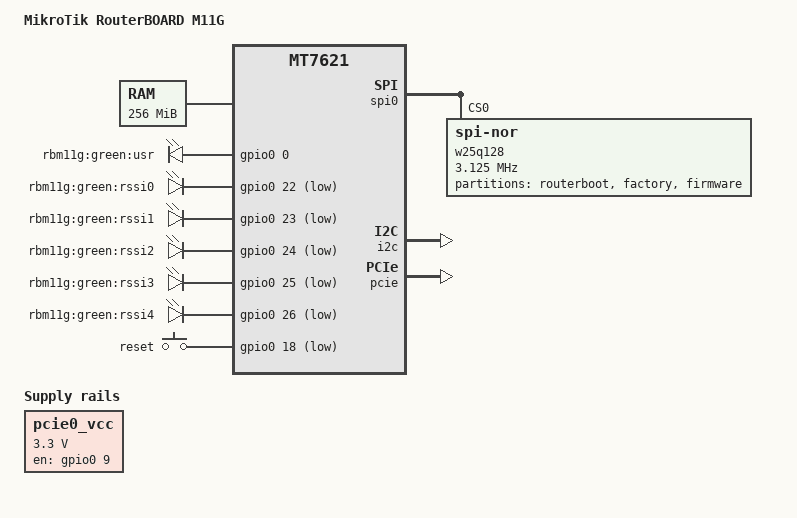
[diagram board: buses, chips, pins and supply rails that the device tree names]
/dts-v1/;

#include "mt7621.dtsi"

#include <dt-bindings/input/input.h>
#include <dt-bindings/gpio/gpio.h>

/ {
	compatible = "mikrotik,rbm11g", "mediatek,mt7621-soc";
	model = "MikroTik RouterBOARD M11G";

	aliases {
		led-status = &led_usr;
	};

	memory@0 {
		device_type = "memory";
		reg = <0x0 0x10000000>;
	};

	chosen {
		bootargs = "console=ttyS0,115200";
	};

	gpio-leds {
		compatible = "gpio-leds";

		led_usr: usr {
			label = "rbm11g:green:usr";
			gpios = <&gpio0 0 GPIO_ACTIVE_HIGH>;
		};

		rssi0 {
			label = "rbm11g:green:rssi0";
			gpios = <&gpio0 22 GPIO_ACTIVE_LOW>;
		};

		rssi1 {
			label = "rbm11g:green:rssi1";
			gpios = <&gpio0 23 GPIO_ACTIVE_LOW>;
		};

		rssi2 {
			label = "rbm11g:green:rssi2";
			gpios = <&gpio0 24 GPIO_ACTIVE_LOW>;
		};

		rssi3 {
			label = "rbm11g:green:rssi3";
			gpios = <&gpio0 25 GPIO_ACTIVE_LOW>;
		};

		rssi4 {
			label = "rbm11g:green:rssi4";
			gpios = <&gpio0 26 GPIO_ACTIVE_LOW>;
		};
	};

	gpio-keys-polled {
		compatible = "gpio-keys-polled";
		poll-interval = <20>;
		res {
			label = "reset";
			gpios = <&gpio0 18 GPIO_ACTIVE_LOW>;
			linux,code = <KEY_RESTART>;
		};
	};

	pcie0_vcc_reg {
		compatible = "regulator-fixed";
		regulator-name = "pcie0_vcc";

		regulator-min-microvolt = <3300000>;
		regulator-max-microvolt = <3300000>;
		gpio = <&gpio0 9 GPIO_ACTIVE_HIGH>;
		enable-active-high;
		regulator-boot-on;
		regulator-always-on;
	};
};


&spi0 {
	status = "okay";

	w25q128@0 {
		#address-cells = <1>;
		#size-cells = <1>;
		compatible = "jedec,spi-nor";
		reg = <0>;
		spi-max-frequency = <3125000>;

		partition@0 {
			label = "routerboot";
			reg = <0x000000 0x00F000>;
			read-only;
		};

		factory: partition@f000 {
			label = "factory";
			reg = <0x00F000 0x031000>;
			read-only;
		};

		partition@40000 {
			label = "firmware";
			reg = <0x040000 0xFC0000>;
		};
	};
};

&ethernet {
	mtd-mac-address = <&factory 0x0010>;
	mtd-mac-address-increment = <1>;
};


&pinctrl {
	state_default: pinctrl0 {
		gpio {
			ralink,group = "uart2", "wdt", "rgmii2";
			ralink,function = "gpio";
		};
	};
};

&i2c {
	status = "okay";
};

&pcie {
	status = "okay";
};
